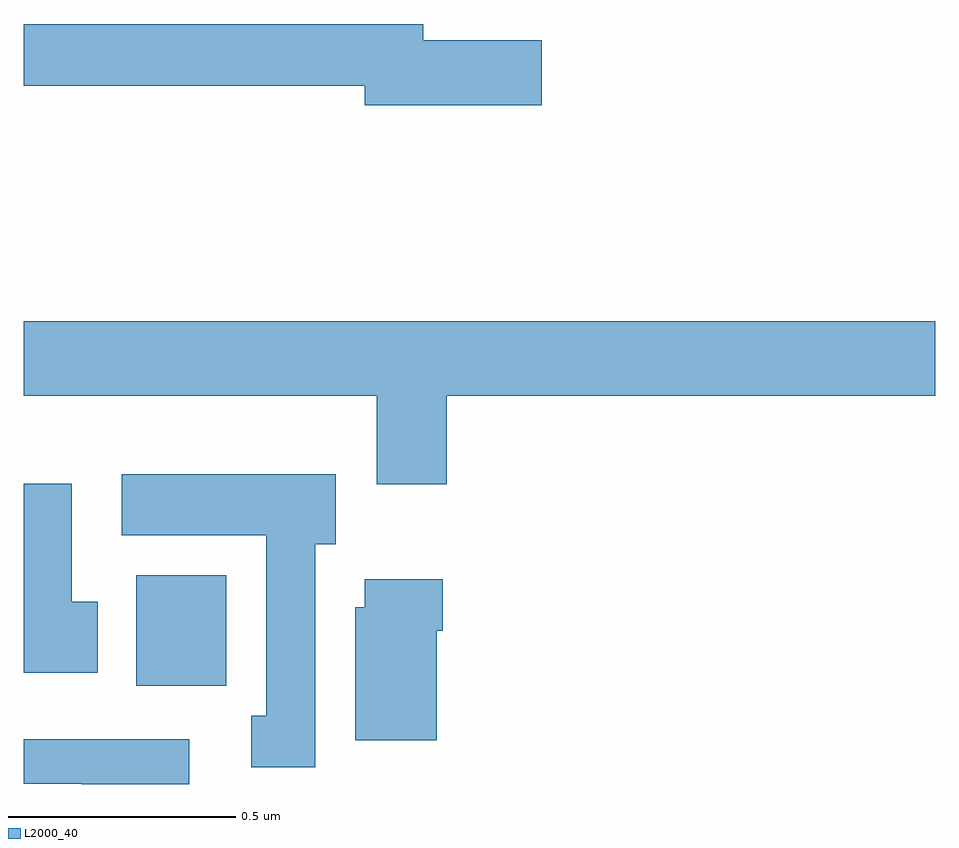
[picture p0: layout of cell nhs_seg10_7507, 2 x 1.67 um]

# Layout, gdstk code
import gdstk
lib = gdstk.Library(unit=1e-6, precision=1e-09)
def R(c, l, rs):  # rectangles x0, y0, x1, y1
    for r in rs: c.add(gdstk.rectangle(r[:2], r[2:], *l))
def P(c, l, *ps):  # polygons
    for p in ps: c.add(gdstk.Polygon(p, *l))
L2000_40 = (2000, 40)

nhs_seg10_7507 = lib.new_cell('nhs_seg10_7507')
R(nhs_seg10_7507, L2000_40, [(205.247,1263.716,205.444,1263.958)])
P(nhs_seg10_7507, L2000_40, [(206.137,1265.132),(205.876,1265.132),(205.876,1265.168),(205,1265.168),(205,1265.032),(205.748,1265.032),(205.748,1264.99),(206.137,1264.99)],
  [(205.928,1264.352),(207,1264.352),(207,1264.516),(205,1264.516),(205,1264.352),(205.775,1264.352),(205.775,1264.158),(205.928,1264.158)],
  [(205.639,1264.026),(205.684,1264.026),(205.684,1264.18),(205.215,1264.18),(205.215,1264.046),(205.532,1264.046),(205.532,1263.65),(205.499,1263.65),(205.499,1263.537),(205.639,1263.537)],
  [(205.162,1263.9),(205.105,1263.9),(205.105,1264.159),(205,1264.159),(205,1263.744),(205.162,1263.744)],
  [(205.906,1263.836),(205.919,1263.836),(205.919,1263.949),(205.748,1263.949),(205.748,1263.888),(205.727,1263.888),(205.727,1263.596),(205.906,1263.596)],
  [(205.363,1263.598),(205,1263.598),(205,1263.501),(205.127,1263.501),(205.127,1263.5),(205.363,1263.5)])

lib.write_gds('nhs_seg10_7507.gds')
